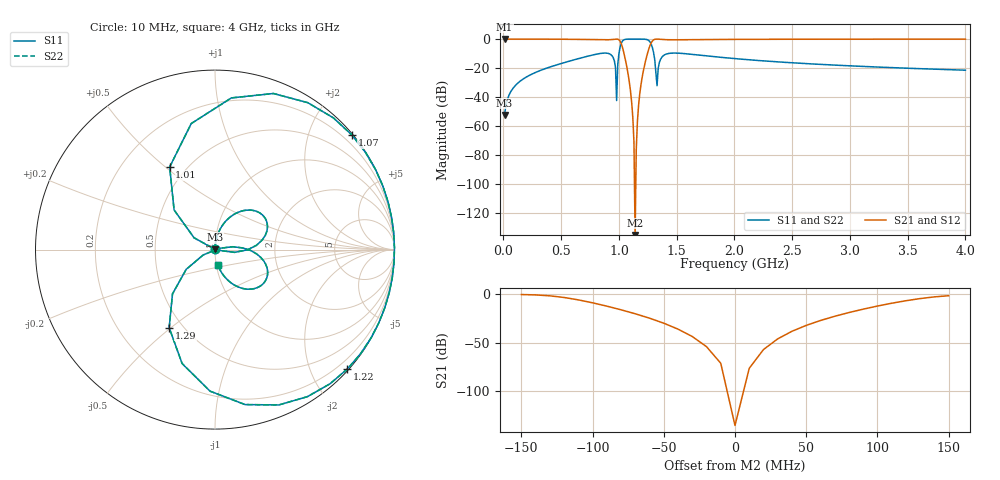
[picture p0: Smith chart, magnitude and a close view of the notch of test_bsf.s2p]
! AWR Design Environment (18789) Tue Jul  1 17:04:14 2025
! Document = 'bsf'
! nPorts: 2, nXvals: 400
# GHz S DB R 50
!Freq DBS11 AngS11 DBS21 AngS21 DBS12 AngS12 DBS22 AngS22
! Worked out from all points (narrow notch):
!   400 points, 10 MHz to 4 GHz, reference 50 ohm
!   highest |S21| = 0.00 dB at 10 MHz (marker M1); lowest = -135.1 dB at 1.14 GHz (marker M2)
!   notch at M2: 135.0 dB deep, 26.4 MHz wide at half that depth
!   lowest |S11| = -52.3 dB at 10 MHz (marker M3), VSWR 1.00, Z = 50 + j0.242 ohm
!   |S11| at or under -10 dB: start of sweep to 832.4 MHz; 1.301 GHz to 1.425 GHz (123.9 MHz wide, 9.09 % of centre); 1.566 GHz to end of sweep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
!   |S22| runs from -52.3 to 0.0 dB; largest |S21 - S12| = 0
!   S11 on the Smith chart (normalised r, x): 10 MHz: 1.00, +0.00; 1.01 GHz: 0.41, +0.52; 1.07 GHz: 0.02, +2.76; 1.22 GHz: 0.03, -2.60; 1.29 GHz: 0.42, -0.49; 4 GHz: 1.02, -0.17
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0.01  -52.33 89.7  -0.00 -0.3  -0.00 -0.3  -52.33 89.7
0.05  -38.34 88.6  -0.00 -1.4  -0.00 -1.4  -38.34 88.6
0.15  -28.68 85.7  -0.01 -4.3  -0.01 -4.3  -28.68 85.7
0.68  -12.82 60.8  -0.23 -29.2  -0.23 -29.2  -12.82 60.8
0.94  -11.46 11.2  -0.32 -78.8  -0.32 -78.8  -11.46 11.2
0.97  -19.18 -8.0  -0.05 -98.0  -0.05 -98.0  -19.18 -8.0
0.98  -42.36 -17.5  -0.00 -107.5  -0.00 -107.5  -42.36 -17.5
0.99  -17.46 150.6  -0.08 -119.4  -0.08 -119.4  -17.46 150.6
1.01  -5.60 118.7  -1.40 -151.3  -1.40 -151.3  -5.60 118.7
1.07  -0.04 39.8  -19.92 129.8  -19.92 129.8  -0.04 39.8
1.11  -0.00 15.4  -43.41 105.4  -43.41 105.4  -0.00 15.4
1.14  -0.00 0.5  -135.13 90.5  -135.13 90.5  -0.00 0.5
1.18  -0.00 -18.9  -37.99 -108.9  -37.99 -108.9  -0.00 -18.9
1.22  -0.06 -42.1  -18.65 -132.1  -18.65 -132.1  -0.06 -42.1
1.29  -5.95 -120.4  -1.27 149.6  -1.27 149.6  -5.95 -120.4
1.33  -32.16 16.2  -0.00 106.2  -0.00 106.2  -32.16 16.2
1.34  -20.07 9.2  -0.04 99.2  -0.04 99.2  -20.07 9.2
1.44  -9.79 -25.3  -0.48 64.7  -0.48 64.7  -9.79 -25.3
2.01  -13.50 -63.4  -0.20 26.6  -0.20 26.6  -13.50 -63.4
2.67  -17.12 -73.2  -0.09 16.8  -0.09 16.8  -17.12 -73.2
3.34  -19.60 -77.5  -0.05 12.5  -0.05 12.5  -19.60 -77.5
4  -21.45 -80.0  -0.03 10.0  -0.03 10.0  -21.45 -80.0
